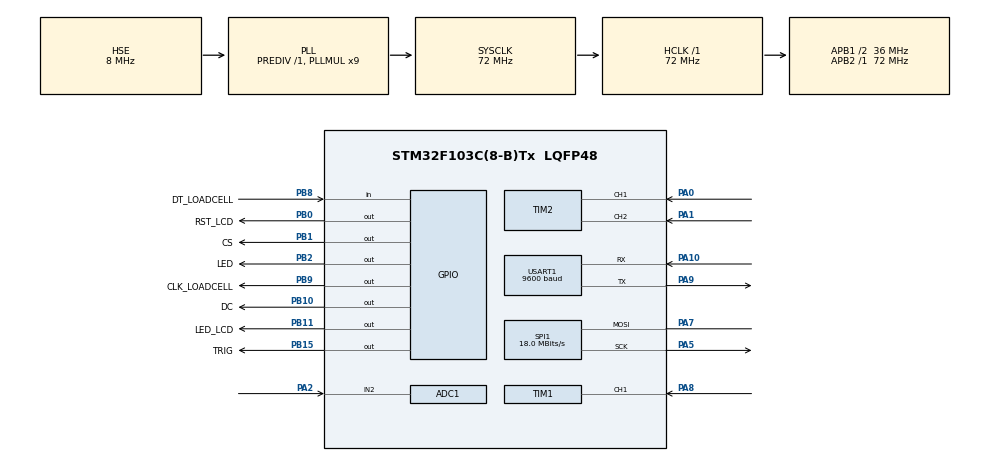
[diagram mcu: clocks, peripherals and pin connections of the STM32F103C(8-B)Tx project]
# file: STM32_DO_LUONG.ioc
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ADC1.Channel-0\#ChannelRegularConversion=ADC_CHANNEL_2
ADC1.ContinuousConvMode=DISABLE
ADC1.NbrOfConversion=1
ADC1.NbrOfConversionFlag=1
ADC1.Rank-0\#ChannelRegularConversion=1
ADC1.SamplingTime-0\#ChannelRegularConversion=ADC_SAMPLETIME_239CYCLES_5
ADC1.master=1
Dma.ADC1.2.Direction=DMA_PERIPH_TO_MEMORY
Dma.ADC1.2.Instance=DMA1_Channel1
Dma.ADC1.2.MemDataAlignment=DMA_MDATAALIGN_HALFWORD
Dma.ADC1.2.MemInc=DMA_MINC_ENABLE
Dma.ADC1.2.Mode=DMA_NORMAL
Dma.ADC1.2.PeriphDataAlignment=DMA_PDATAALIGN_HALFWORD
Dma.ADC1.2.PeriphInc=DMA_PINC_DISABLE
Dma.ADC1.2.Priority=DMA_PRIORITY_MEDIUM
Dma.Request0=USART1_TX
Dma.Request1=SPI1_TX
Dma.Request2=ADC1
Dma.Request3=USART1_RX
Dma.SPI1_TX.1.Direction=DMA_MEMORY_TO_PERIPH
Dma.SPI1_TX.1.Instance=DMA1_Channel3
Dma.SPI1_TX.1.MemDataAlignment=DMA_MDATAALIGN_BYTE
Dma.SPI1_TX.1.MemInc=DMA_MINC_ENABLE
Dma.SPI1_TX.1.Mode=DMA_NORMAL
Dma.SPI1_TX.1.PeriphDataAlignment=DMA_PDATAALIGN_BYTE
Dma.SPI1_TX.1.PeriphInc=DMA_PINC_DISABLE
Dma.SPI1_TX.1.Priority=DMA_PRIORITY_LOW
Dma.USART1_RX.3.Direction=DMA_PERIPH_TO_MEMORY
Dma.USART1_RX.3.Instance=DMA1_Channel5
Dma.USART1_RX.3.MemDataAlignment=DMA_MDATAALIGN_BYTE
Dma.USART1_RX.3.MemInc=DMA_MINC_ENABLE
Dma.USART1_RX.3.Mode=DMA_NORMAL
Dma.USART1_RX.3.PeriphDataAlignment=DMA_PDATAALIGN_BYTE
Dma.USART1_RX.3.PeriphInc=DMA_PINC_DISABLE
Dma.USART1_RX.3.Priority=DMA_PRIORITY_HIGH
Dma.USART1_TX.0.Direction=DMA_MEMORY_TO_PERIPH
Dma.USART1_TX.0.Instance=DMA1_Channel4
Dma.USART1_TX.0.MemDataAlignment=DMA_MDATAALIGN_BYTE
Dma.USART1_TX.0.MemInc=DMA_MINC_ENABLE
Dma.USART1_TX.0.Mode=DMA_NORMAL
Dma.USART1_TX.0.PeriphDataAlignment=DMA_PDATAALIGN_BYTE
Dma.USART1_TX.0.PeriphInc=DMA_PINC_DISABLE
Dma.USART1_TX.0.Priority=DMA_PRIORITY_HIGH
Mcu.Family=STM32F1
Mcu.Name=STM32F103C(8-B)Tx
Mcu.Package=LQFP48
NVIC.ADC1_2_IRQn=true\:0\:0\:false\:false\:true\:true\:true\:true
NVIC.DMA1_Channel1_IRQn=true\:0\:0\:false\:false\:true\:false\:true\:true
NVIC.DMA1_Channel3_IRQn=true\:0\:0\:false\:false\:true\:false\:true\:true
NVIC.DMA1_Channel4_IRQn=true\:0\:0\:false\:false\:true\:false\:true\:true
NVIC.DMA1_Channel5_IRQn=true\:0\:0\:false\:false\:true\:false\:true\:true
NVIC.PriorityGroup=NVIC_PRIORITYGROUP_4
NVIC.TIM1_CC_IRQn=true\:0\:0\:false\:false\:true\:true\:true\:true
NVIC.TIM4_IRQn=true\:0\:0\:false\:false\:true\:true\:true\:true
NVIC.USART1_IRQn=true\:0\:0\:false\:false\:true\:true\:true\:true
PA0-WKUP.Signal=S_TIM2_CH1_ETR
PA1.Signal=S_TIM2_CH2
PA10.Mode=Asynchronous
PA10.Signal=USART1_RX
PA13.Mode=Serial_Wire
PA13.Signal=SYS_JTMS-SWDIO
PA14.Mode=Serial_Wire
PA14.Signal=SYS_JTCK-SWCLK
PA2.Signal=ADCx_IN2
PA5.Mode=Simplex_Bidirectional_Master
PA5.Signal=SPI1_SCK
PA7.Mode=Simplex_Bidirectional_Master
PA7.Signal=SPI1_MOSI
PA8.Signal=S_TIM1_CH1
PA9.Mode=Asynchronous
PA9.Signal=USART1_TX
PB0.GPIO_Label=RST_LCD
PB0.Signal=GPIO_Output
PB1.GPIO_Label=CS
PB1.Signal=GPIO_Output
PB10.GPIO_Label=DC
PB10.Signal=GPIO_Output
PB11.GPIO_Label=LED_LCD
PB11.Signal=GPIO_Output
PB15.GPIO_Label=TRIG
PB15.Signal=GPIO_Output
PB2.GPIO_Label=LED
PB2.Signal=GPIO_Output
PB8.GPIO_Label=DT_LOADCELL
PB8.Signal=GPIO_Input
PB9.GPIO_Label=CLK_LOADCELL
PB9.Signal=GPIO_Output
PD0-OSC_IN.Mode=HSE-External-Oscillator
PD0-OSC_IN.Signal=RCC_OSC_IN
PD1-OSC_OUT.Mode=HSE-External-Oscillator
PD1-OSC_OUT.Signal=RCC_OSC_OUT
ProjectManager.HeapSize=0x200
ProjectManager.StackSize=0x400
ProjectManager.TargetToolchain=MDK-ARM V5.32
RCC.ADCPresc=RCC_ADCPCLK2_DIV6
RCC.AHBFreq_Value=72000000
RCC.APB1CLKDivider=RCC_HCLK_DIV2
RCC.APB1Freq_Value=36000000
RCC.APB1TimFreq_Value=72000000
RCC.APB2Freq_Value=72000000
RCC.APB2TimFreq_Value=72000000
RCC.HCLKFreq_Value=72000000
RCC.PLLMUL=RCC_PLL_MUL9
RCC.PLLSourceVirtual=RCC_PLLSOURCE_HSE
RCC.SYSCLKFreq_VALUE=72000000
RCC.SYSCLKSource=RCC_SYSCLKSOURCE_PLLCLK
RCC.USBFreq_Value=72000000
SH.ADCx_IN2.0=ADC1_IN2,IN2
SH.S_TIM1_CH1.0=TIM1_CH1,Input_Capture1_from_TI1
SH.S_TIM2_CH1_ETR.0=TIM2_CH1,Encoder_Interface
SH.S_TIM2_CH2.0=TIM2_CH2,Encoder_Interface
SPI1.BaudRatePrescaler=SPI_BAUDRATEPRESCALER_4
SPI1.CalculateBaudRate=18.0 MBits/s
SPI1.Direction=SPI_DIRECTION_1LINE
SPI1.Mode=SPI_MODE_MASTER
SPI1.VirtualType=VM_MASTER
TIM1.Channel-Input_Capture1_from_TI1=TIM_CHANNEL_1
TIM1.Period=0xffff-1
TIM1.Prescaler=72-1
TIM2.EncoderMode=TIM_ENCODERMODE_TI12
TIM4.Period=0xffff-1
TIM4.Prescaler=72-1
USART1.BaudRate=9600
USART1.VirtualMode=VM_ASYNC
VP_TIM1_VS_ClockSourceINT.Mode=Internal
VP_TIM4_VS_ClockSourceINT.Mode=Internal
board=custom

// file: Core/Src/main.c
/* USER CODE BEGIN Header */
/**
  ******************************************************************************
  * @file           : main.c
  * @brief          : Main program body
  ******************************************************************************
  * @attention
  *
  * Copyright (c) 2023 STMicroelectronics.
  * All rights reserved.
  *
  * This software is licensed under terms that can be found in the LICENSE file
  * in the root directory of this software component.
  * If no LICENSE file comes with this software, it is provided AS-IS.
  *
  ******************************************************************************
  */
/* USER CODE END Header */
#include "main.h"

/* USER CODE BEGIN Includes */
#include "stdlib.h"
#include "simpleKalmanFilter.h"
#include "stdint.h"
#include "string.h"
#include "stdio.h"
#include "st7735.h"
#include "backiee.h"
#include "hx711.h"
#include "hx711Config.h"
/* USER CODE END Includes */

 ADC_HandleTypeDef hadc1;
DMA_HandleTypeDef hdma_adc1;

SPI_HandleTypeDef hspi1;
DMA_HandleTypeDef hdma_spi1_tx;

TIM_HandleTypeDef htim1;
TIM_HandleTypeDef htim2;
TIM_HandleTypeDef htim4;

UART_HandleTypeDef huart1;
DMA_HandleTypeDef hdma_usart1_tx;
DMA_HandleTypeDef hdma_usart1_rx;

/* USER CODE BEGIN PV */
hx711_t loadcell;

#define RX_SIZE 10
uint8_t rxBuffer[RX_SIZE] = {0};
uint8_t size = 0;
/* USER CODE END PV */

void SystemClock_Config(void);
static void MX_GPIO_Init(void);
static void MX_DMA_Init(void);
static void MX_USART1_UART_Init(void);
static void MX_SPI1_Init(void);
static void MX_ADC1_Init(void);
static void MX_TIM2_Init(void);
static void MX_TIM1_Init(void);
static void MX_TIM4_Init(void);

/* USER CODE BEGIN 0 */
float weight;
uint32_t timeReadSensor, timePicture;
uint8_t buffTx[50], buffData[5];
uint16_t adc;
float TempC;
uint16_t sensor2, sensor3 = 1670;
uint16_t Gas;
uint8_t i;
uint16_t count= 0;
uint64_t timeCount;
uint8_t flag;

uint32_t IC_Val1 = 0;
uint32_t IC_Val2 = 0;
uint32_t Difference = 0;
uint8_t Is_First_Captured = 0;  // is the first value captured ?
uint8_t Distance  = 0;
uint16_t Distance_Tram,Distance_Chuc, Distance_Dvi , Distance_R;

long map(long x, long in_min, long in_max, long out_min, long out_max) {
  return (x - in_min) * (out_max - out_min) / (in_max - in_min) + out_min;
}
void HAL_UARTEx_RxEventCallback(UART_HandleTypeDef *huart, uint16_t Size)
{
		flag = 1;
    HAL_UARTEx_ReceiveToIdle_DMA(&huart1, rxBuffer, RX_SIZE);
    size = Size;
}
void delay (uint16_t time)
{
	__HAL_TIM_SET_COUNTER(&htim4, 0);
	while (__HAL_TIM_GET_COUNTER (&htim4) < time);
}
void HAL_TIM_IC_CaptureCallback(TIM_HandleTypeDef *htim)
{
	if (htim->Channel == HAL_TIM_ACTIVE_CHANNEL_1)  // if the interrupt source is channel1
	{
		if (Is_First_Captured==0) // if the first value is not captured
		{
			IC_Val1 = HAL_TIM_ReadCapturedValue(htim, TIM_CHANNEL_1); // read the first value
			Is_First_Captured = 1;  // set the first captured as true
			// Now change the polarity to falling edge
			__HAL_TIM_SET_CAPTUREPOLARITY(htim, TIM_CHANNEL_1, TIM_INPUTCHANNELPOLARITY_FALLING);
		}

		else if (Is_First_Captured==1)   // if the first is already captured
		{
			IC_Val2 = HAL_TIM_ReadCapturedValue(htim, TIM_CHANNEL_1);  // read second value
			__HAL_TIM_SET_COUNTER(htim, 0);  // reset the counter

			if (IC_Val2 > IC_Val1)
			{
				Difference = IC_Val2-IC_Val1;
			}

			else if (IC_Val1 > IC_Val2)
			{
				Difference = (0xffff - IC_Val1) + IC_Val2;
			}

			Distance = Difference * .034/2;
			Is_First_Captured = 0; // set it back to false

			// set polarity to rising edge
			__HAL_TIM_SET_CAPTUREPOLARITY(htim, TIM_CHANNEL_1, TIM_INPUTCHANNELPOLARITY_RISING);
			__HAL_TIM_DISABLE_IT(&htim1, TIM_IT_CC1);
		}
	}
}
void HCSR04_Read (void)
{
	HAL_GPIO_WritePin(TRIG_GPIO_Port, TRIG_Pin, GPIO_PIN_SET);  // pull the TRIG pin HIGH
	delay(10);  // wait for 10 us
	HAL_GPIO_WritePin(TRIG_GPIO_Port, TRIG_Pin, GPIO_PIN_RESET);  // pull the TRIG pin low

	__HAL_TIM_ENABLE_IT(&htim1, TIM_IT_CC1);
}
/* USER CODE END 0 */

int main(void)
{

  /* MCU Configuration--------------------------------------------------------*/

  /* Reset of all peripherals, Initializes the Flash interface and the Systick. */
  HAL_Init();

  /* Configure the system clock */
  SystemClock_Config();

  /* Initialize all configured peripherals */
  MX_GPIO_Init();
  MX_DMA_Init();
  MX_USART1_UART_Init();
  MX_SPI1_Init();
  MX_ADC1_Init();
  MX_TIM2_Init();
  MX_TIM1_Init();
  MX_TIM4_Init();
  /* USER CODE BEGIN 2 */
	hx711_init(&loadcell , CLK_LOADCELL_GPIO_Port, CLK_LOADCELL_Pin, DT_LOADCELL_GPIO_Port, DT_LOADCELL_Pin);
	hx711_coef_set(&loadcell, -464.356); 			//20000.567  -464.356 354.5// read afer calibration
	hx711_tare(&loadcell, 50);
	HAL_TIM_Encoder_Start(&htim2, TIM_CHANNEL_ALL);

	HAL_TIM_IC_Start_IT(&htim1, TIM_CHANNEL_1);
	HAL_TIM_Base_Start_IT(&htim4);

	HAL_UARTEx_ReceiveToIdle_DMA(&huart1, rxBuffer, RX_SIZE);
	__HAL_DMA_DISABLE_IT(&hdma_usart1_rx, DMA_IT_HT);
  /* USER CODE END 2 */

  /* Infinite loop */
  /* USER CODE BEGIN WHILE */
  while (1)
  {
		HCSR04_Read();					// SR04
		count = ((TIM2->CNT)>>2);		// ENCODER
		weight = hx711_weight(&loadcell, 20);// +357.6		 // HX711
		if(HAL_GetTick() - timeReadSensor >= 500)
		{
				HAL_ADC_Start_DMA(&hadc1, &adc, 1);

				timeReadSensor = HAL_GetTick();

		}
		if(HAL_GetTick() - timePicture >= 300)
		{

				float voltage = ( adc * 3.3 / 4096.0 );
				TempC = voltage * 100.0;		// LM35

				sprintf((char*)buffTx, "%.1f/%.1f/%d\n",weight, TempC, Distance);
				HAL_UART_Transmit_DMA(&huart1,buffTx,strlen((char*)buffTx));
				//memset((char*)buffTx, '0', sizeof(buffTx));

				HAL_GPIO_TogglePin(LED_GPIO_Port, LED_Pin);
				timePicture = HAL_GetTick();
		}
    /* USER CODE END WHILE */

  }
}

void SystemClock_Config(void)
{
  RCC_OscInitTypeDef RCC_OscInitStruct = {0};
  RCC_ClkInitTypeDef RCC_ClkInitStruct = {0};
  RCC_PeriphCLKInitTypeDef PeriphClkInit = {0};

  /** Initializes the RCC Oscillators according to the specified parameters
  * in the RCC_OscInitTypeDef structure.
  */
  RCC_OscInitStruct.OscillatorType = RCC_OSCILLATORTYPE_HSE;
  RCC_OscInitStruct.HSEState = RCC_HSE_ON;
  RCC_OscInitStruct.HSEPredivValue = RCC_HSE_PREDIV_DIV1;
  RCC_OscInitStruct.HSIState = RCC_HSI_ON;
  RCC_OscInitStruct.PLL.PLLState = RCC_PLL_ON;
  RCC_OscInitStruct.PLL.PLLSource = RCC_PLLSOURCE_HSE;
  RCC_OscInitStruct.PLL.PLLMUL = RCC_PLL_MUL9;
  if (HAL_RCC_OscConfig(&RCC_OscInitStruct) != HAL_OK)
  {
    Error_Handler();
  }

  /** Initializes the CPU, AHB and APB buses clocks
  */
  RCC_ClkInitStruct.ClockType = RCC_CLOCKTYPE_HCLK|RCC_CLOCKTYPE_SYSCLK
                              |RCC_CLOCKTYPE_PCLK1|RCC_CLOCKTYPE_PCLK2;
  RCC_ClkInitStruct.SYSCLKSource = RCC_SYSCLKSOURCE_PLLCLK;
  RCC_ClkInitStruct.AHBCLKDivider = RCC_SYSCLK_DIV1;
  RCC_ClkInitStruct.APB1CLKDivider = RCC_HCLK_DIV2;
  RCC_ClkInitStruct.APB2CLKDivider = RCC_HCLK_DIV1;

  if (HAL_RCC_ClockConfig(&RCC_ClkInitStruct, FLASH_LATENCY_2) != HAL_OK)
  {
    Error_Handler();
  }
  PeriphClkInit.PeriphClockSelection = RCC_PERIPHCLK_ADC;
  PeriphClkInit.AdcClockSelection = RCC_ADCPCLK2_DIV6;
  if (HAL_RCCEx_PeriphCLKConfig(&PeriphClkInit) != HAL_OK)
  {
    Error_Handler();
  }
}

static void MX_ADC1_Init(void)
{

  ADC_ChannelConfTypeDef sConfig = {0};

  /** Common config
  */
  hadc1.Instance = ADC1;
  hadc1.Init.ScanConvMode = ADC_SCAN_DISABLE;
  hadc1.Init.ContinuousConvMode = DISABLE;
  hadc1.Init.DiscontinuousConvMode = DISABLE;
  hadc1.Init.ExternalTrigConv = ADC_SOFTWARE_START;
  hadc1.Init.DataAlign = ADC_DATAALIGN_RIGHT;
  hadc1.Init.NbrOfConversion = 1;
  if (HAL_ADC_Init(&hadc1) != HAL_OK)
  {
    Error_Handler();
  }

  /** Configure Regular Channel
  */
  sConfig.Channel = ADC_CHANNEL_2;
  sConfig.Rank = ADC_REGULAR_RANK_1;
  sConfig.SamplingTime = ADC_SAMPLETIME_239CYCLES_5;
  if (HAL_ADC_ConfigChannel(&hadc1, &sConfig) != HAL_OK)
  {
    Error_Handler();
  }

}

static void MX_SPI1_Init(void)
{

  /* SPI1 parameter configuration*/
  hspi1.Instance = SPI1;
  hspi1.Init.Mode = SPI_MODE_MASTER;
  hspi1.Init.Direction = SPI_DIRECTION_1LINE;
  hspi1.Init.DataSize = SPI_DATASIZE_8BIT;
  hspi1.Init.CLKPolarity = SPI_POLARITY_LOW;
  hspi1.Init.CLKPhase = SPI_PHASE_1EDGE;
  hspi1.Init.NSS = SPI_NSS_SOFT;
  hspi1.Init.BaudRatePrescaler = SPI_BAUDRATEPRESCALER_4;
  hspi1.Init.FirstBit = SPI_FIRSTBIT_MSB;
  hspi1.Init.TIMode = SPI_TIMODE_DISABLE;
  hspi1.Init.CRCCalculation = SPI_CRCCALCULATION_DISABLE;
  hspi1.Init.CRCPolynomial = 10;
  if (HAL_SPI_Init(&hspi1) != HAL_OK)
  {
    Error_Handler();
  }

}

static void MX_TIM1_Init(void)
{

  TIM_ClockConfigTypeDef sClockSourceConfig = {0};
  TIM_MasterConfigTypeDef sMasterConfig = {0};
  TIM_IC_InitTypeDef sConfigIC = {0};

  htim1.Instance = TIM1;
  htim1.Init.Prescaler = 72-1;
  htim1.Init.CounterMode = TIM_COUNTERMODE_UP;
  htim1.Init.Period = 0xffff-1;
  htim1.Init.ClockDivision = TIM_CLOCKDIVISION_DIV1;
  htim1.Init.RepetitionCounter = 0;
  htim1.Init.AutoReloadPreload = TIM_AUTORELOAD_PRELOAD_DISABLE;
  if (HAL_TIM_Base_Init(&htim1) != HAL_OK)
  {
    Error_Handler();
  }
  sClockSourceConfig.ClockSource = TIM_CLOCKSOURCE_INTERNAL;
  if (HAL_TIM_ConfigClockSource(&htim1, &sClockSourceConfig) != HAL_OK)
  {
    Error_Handler();
  }
  if (HAL_TIM_IC_Init(&htim1) != HAL_OK)
  {
    Error_Handler();
  }
  sMasterConfig.MasterOutputTrigger = TIM_TRGO_RESET;
  sMasterConfig.MasterSlaveMode = TIM_MASTERSLAVEMODE_DISABLE;
  if (HAL_TIMEx_MasterConfigSynchronization(&htim1, &sMasterConfig) != HAL_OK)
  {
    Error_Handler();
  }
  sConfigIC.ICPolarity = TIM_INPUTCHANNELPOLARITY_RISING;
  sConfigIC.ICSelection = TIM_ICSELECTION_DIRECTTI;
  sConfigIC.ICPrescaler = TIM_ICPSC_DIV1;
  sConfigIC.ICFilter = 0;
  if (HAL_TIM_IC_ConfigChannel(&htim1, &sConfigIC, TIM_CHANNEL_1) != HAL_OK)
  {
    Error_Handler();
  }

}

static void MX_TIM2_Init(void)
{

  TIM_Encoder_InitTypeDef sConfig = {0};
  TIM_MasterConfigTypeDef sMasterConfig = {0};

  htim2.Instance = TIM2;
  htim2.Init.Prescaler = 0;
  htim2.Init.CounterMode = TIM_COUNTERMODE_UP;
  htim2.Init.Period = 65535;
  htim2.Init.ClockDivision = TIM_CLOCKDIVISION_DIV1;
  htim2.Init.AutoReloadPreload = TIM_AUTORELOAD_PRELOAD_DISABLE;
  sConfig.EncoderMode = TIM_ENCODERMODE_TI12;
  sConfig.IC1Polarity = TIM_ICPOLARITY_RISING;
  sConfig.IC1Selection = TIM_ICSELECTION_DIRECTTI;
  sConfig.IC1Prescaler = TIM_ICPSC_DIV1;
  sConfig.IC1Filter = 0;
  sConfig.IC2Polarity = TIM_ICPOLARITY_RISING;
  sConfig.IC2Selection = TIM_ICSELECTION_DIRECTTI;
  sConfig.IC2Prescaler = TIM_ICPSC_DIV1;
  sConfig.IC2Filter = 0;
  if (HAL_TIM_Encoder_Init(&htim2, &sConfig) != HAL_OK)
  {
    Error_Handler();
  }
  sMasterConfig.MasterOutputTrigger = TIM_TRGO_RESET;
  sMasterConfig.MasterSlaveMode = TIM_MASTERSLAVEMODE_DISABLE;
  if (HAL_TIMEx_MasterConfigSynchronization(&htim2, &sMasterConfig) != HAL_OK)
  {
    Error_Handler();
  }

}

static void MX_TIM4_Init(void)
{

  TIM_ClockConfigTypeDef sClockSourceConfig = {0};
  TIM_MasterConfigTypeDef sMasterConfig = {0};

  htim4.Instance = TIM4;
  htim4.Init.Prescaler = 72-1;
  htim4.Init.CounterMode = TIM_COUNTERMODE_UP;
  htim4.Init.Period = 0xffff-1;
  htim4.Init.ClockDivision = TIM_CLOCKDIVISION_DIV1;
  htim4.Init.AutoReloadPreload = TIM_AUTORELOAD_PRELOAD_DISABLE;
  if (HAL_TIM_Base_Init(&htim4) != HAL_OK)
  {
    Error_Handler();
  }
  sClockSourceConfig.ClockSource = TIM_CLOCKSOURCE_INTERNAL;
  if (HAL_TIM_ConfigClockSource(&htim4, &sClockSourceConfig) != HAL_OK)
  {
    Error_Handler();
  }
  sMasterConfig.MasterOutputTrigger = TIM_TRGO_RESET;
  sMasterConfig.MasterSlaveMode = TIM_MASTERSLAVEMODE_DISABLE;
  if (HAL_TIMEx_MasterConfigSynchronization(&htim4, &sMasterConfig) != HAL_OK)
  {
    Error_Handler();
  }

}

static void MX_USART1_UART_Init(void)
{

  huart1.Instance = USART1;
  huart1.Init.BaudRate = 9600;
  huart1.Init.WordLength = UART_WORDLENGTH_8B;
  huart1.Init.StopBits = UART_STOPBITS_1;
  huart1.Init.Parity = UART_PARITY_NONE;
  huart1.Init.Mode = UART_MODE_TX_RX;
  huart1.Init.HwFlowCtl = UART_HWCONTROL_NONE;
  huart1.Init.OverSampling = UART_OVERSAMPLING_16;
  if (HAL_UART_Init(&huart1) != HAL_OK)
  {
    Error_Handler();
  }

}

static void MX_DMA_Init(void)
{

  /* DMA controller clock enable */
  __HAL_RCC_DMA1_CLK_ENABLE();

  /* DMA interrupt init */
  /* DMA1_Channel1_IRQn interrupt configuration */
  HAL_NVIC_SetPriority(DMA1_Channel1_IRQn, 0, 0);
  HAL_NVIC_EnableIRQ(DMA1_Channel1_IRQn);
  /* DMA1_Channel3_IRQn interrupt configuration */
  HAL_NVIC_SetPriority(DMA1_Channel3_IRQn, 0, 0);
  HAL_NVIC_EnableIRQ(DMA1_Channel3_IRQn);
  /* DMA1_Channel4_IRQn interrupt configuration */
  HAL_NVIC_SetPriority(DMA1_Channel4_IRQn, 0, 0);
  HAL_NVIC_EnableIRQ(DMA1_Channel4_IRQn);
  /* DMA1_Channel5_IRQn interrupt configuration */
  HAL_NVIC_SetPriority(DMA1_Channel5_IRQn, 0, 0);
  HAL_NVIC_EnableIRQ(DMA1_Channel5_IRQn);

}

static void MX_GPIO_Init(void)
{
  GPIO_InitTypeDef GPIO_InitStruct = {0};

  /* GPIO Ports Clock Enable */
  __HAL_RCC_GPIOD_CLK_ENABLE();
  __HAL_RCC_GPIOA_CLK_ENABLE();
  __HAL_RCC_GPIOB_CLK_ENABLE();

  /*Configure GPIO pin Output Level */
  HAL_GPIO_WritePin(GPIOB, RST_LCD_Pin|CS_Pin|LED_Pin|DC_Pin
                          |LED_LCD_Pin|TRIG_Pin|CLK_LOADCELL_Pin, GPIO_PIN_RESET);

  /*Configure GPIO pins : RST_LCD_Pin CS_Pin LED_Pin DC_Pin
                           LED_LCD_Pin TRIG_Pin CLK_LOADCELL_Pin */
  GPIO_InitStruct.Pin = RST_LCD_Pin|CS_Pin|LED_Pin|DC_Pin
                          |LED_LCD_Pin|TRIG_Pin|CLK_LOADCELL_Pin;
  GPIO_InitStruct.Mode = GPIO_MODE_OUTPUT_PP;
  GPIO_InitStruct.Pull = GPIO_NOPULL;
  GPIO_InitStruct.Speed = GPIO_SPEED_FREQ_LOW;
  HAL_GPIO_Init(GPIOB, &GPIO_InitStruct);

  /*Configure GPIO pin : DT_LOADCELL_Pin */
  GPIO_InitStruct.Pin = DT_LOADCELL_Pin;
  GPIO_InitStruct.Mode = GPIO_MODE_INPUT;
  GPIO_InitStruct.Pull = GPIO_NOPULL;
  HAL_GPIO_Init(DT_LOADCELL_GPIO_Port, &GPIO_InitStruct);

}

void Error_Handler(void)
{
  __disable_irq();
  while (1)
  {
  }
}
